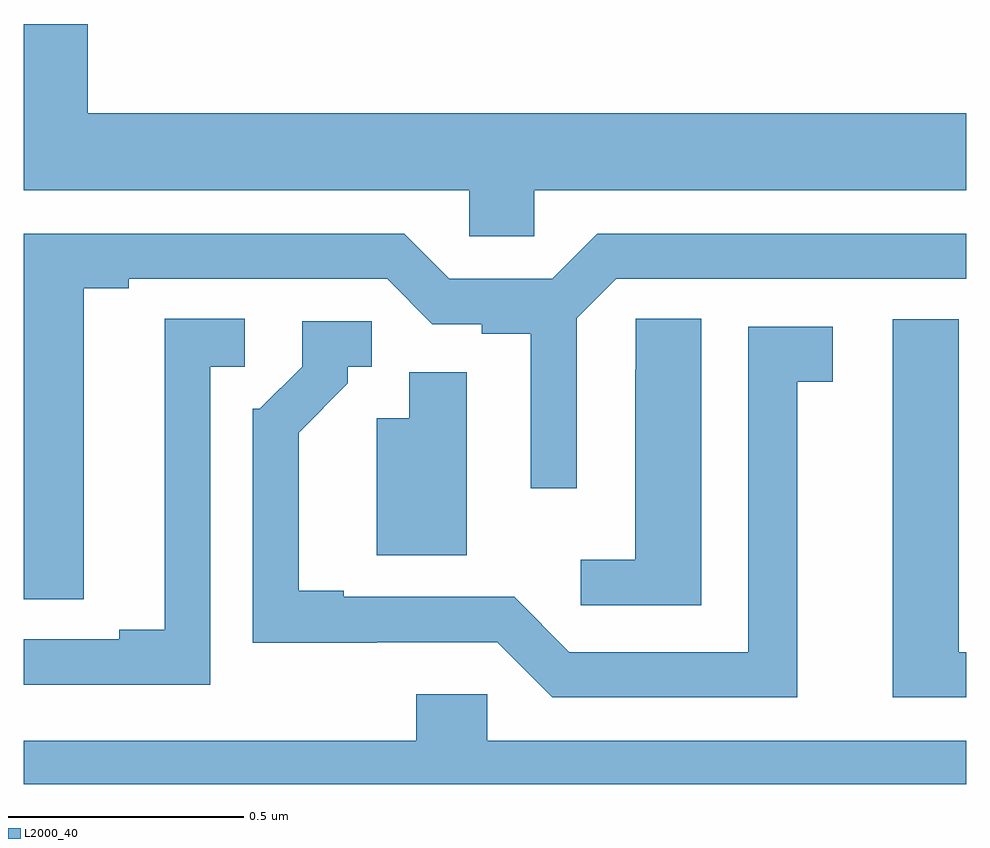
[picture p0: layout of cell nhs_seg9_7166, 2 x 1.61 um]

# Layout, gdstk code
import gdstk
lib = gdstk.Library(unit=1e-6, precision=1e-09)
def P(c, l, *ps):  # polygons
    for p in ps: c.add(gdstk.Polygon(p, *l))
L2000_40 = (2000, 40)

nhs_seg9_7166 = lib.new_cell('nhs_seg9_7166')
P(nhs_seg9_7166, L2000_40, [(202.083,1189.76),(203,1189.76),(203,1189.924),(201.136,1189.924),(201.136,1190.113),(201,1190.113),(201,1189.76),(201.945,1189.76),(201.945,1189.662),(202.083,1189.662)],
  [(201.127,1189.552),(201.223,1189.552),(201.223,1189.572),(201.771,1189.572),(201.867,1189.476),(201.972,1189.476),(201.972,1189.456),(202.076,1189.456),(202.076,1189.128),(202.173,1189.128),(202.173,1189.488),(202.257,1189.572),(203,1189.572),(203,1189.668),(202.217,1189.668),(202.121,1189.572),(201.903,1189.572),(201.807,1189.668),(201,1189.668),(201,1188.892),(201.127,1188.892)],
  [(201.396,1189.386),(201.469,1189.386),(201.469,1189.487),(201.299,1189.487),(201.299,1188.827),(201.203,1188.827),(201.203,1188.807),(201,1188.807),(201,1188.711),(201.396,1188.711)],
  [(202.438,1189.487),(202.299,1189.487),(202.299,1189.379),(202.298,1189.379),(202.298,1188.976),(202.182,1188.976),(202.182,1188.879),(202.438,1188.879)],
  [(203,1188.78),(202.984,1188.78),(202.984,1189.486),(202.844,1189.486),(202.844,1188.684),(203,1188.684)],
  [(202.642,1189.354),(202.717,1189.354),(202.717,1189.47),(202.538,1189.47),(202.538,1188.78),(202.158,1188.78),(202.041,1188.897),(201.679,1188.897),(201.679,1188.91),(201.583,1188.91),(201.583,1189.246),(201.688,1189.351),(201.688,1189.386),(201.738,1189.386),(201.738,1189.482),(201.591,1189.482),(201.591,1189.386),(201.501,1189.296),(201.486,1189.296),(201.486,1188.8),(201.749,1188.8),(201.749,1188.801),(202.005,1188.801),(202.122,1188.684),(202.642,1188.684)],
  [(201.94,1189.374),(201.818,1189.374),(201.818,1189.276),(201.749,1189.276),(201.749,1188.986),(201.94,1188.986)],
  [(203,1188.592),(201.984,1188.592),(201.984,1188.69),(201.833,1188.69),(201.833,1188.592),(201,1188.592),(201,1188.5),(203,1188.5)])

lib.write_gds('nhs_seg9_7166.gds')
